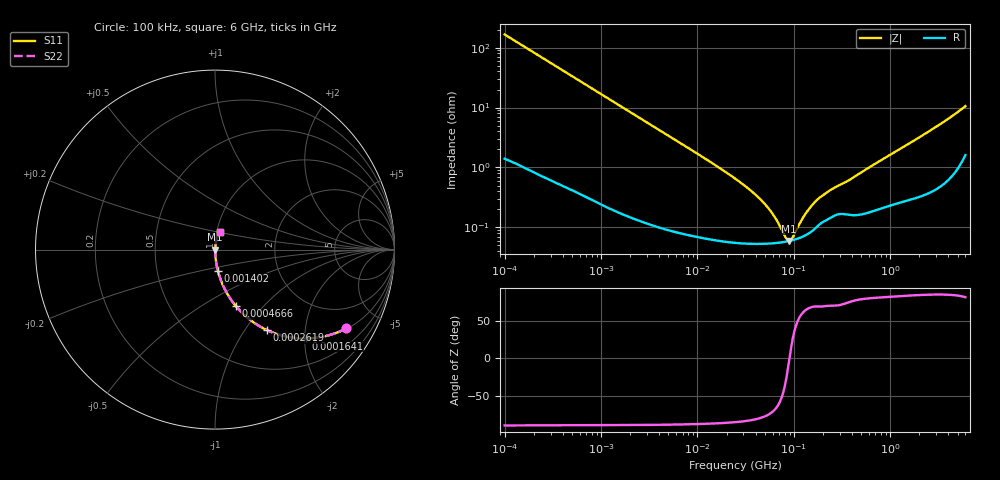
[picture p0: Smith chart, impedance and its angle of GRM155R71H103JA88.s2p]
!Murata Part Number: GRM155R71H103JA88
!These Parameters are Measured in Series Mode Connection
!Data Generated on Mar 30, 2021
!  o--ll--o
!Port1  Port2
!  o------o
!Operation Temp=25[degC], DC Bias Voltage=0[V]
!Freq. Start=100[kHz] Stop=6[GHz] 401[Steps]
# Hz S RI R 50
!Freq.(Hz) S11(Real) S11(Imag) S21(Real) S21(Imag) S12(Real) S12(Imag) S22(Real) S22(Imag)
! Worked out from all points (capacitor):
!   401 points, 100 kHz to 6 GHz, reference 50 ohm
!   read as one part in series: C = 9.59 nF near 105.7 kHz
!   lowest |Z| = 59.5 mohm at 89.23 MHz (marker M1)
!   series resonance near 89.98 MHz, so ESL is about 330 pH
!   S11 on the Smith chart (normalised r, x): 100 kHz: 1.03, -3.31; 164.1 kHz: 1.02, -2.03; 261.9 kHz: 1.01, -1.27; 466.6 kHz: 1.01, -0.72; 1.402 MHz: 1.00, -0.24; 6 GHz: 1.03, +0.21
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100000  0.7314 -0.439  0.2686 0.439  0.2686 0.439  0.7314 -0.439
164065  0.5066 -0.4952  0.4934 0.4952  0.4934 0.4952  0.5066 -0.4952
261871  0.2905 -0.4487  0.7095 0.4487  0.7095 0.4487  0.2905 -0.4487
466596  0.117 -0.3154  0.883 0.3154  0.883 0.3154  0.117 -0.3154
631452  0.0688 -0.2466  0.9312 0.2466  0.9312 0.2466  0.0688 -0.2466
1402027  0.0161 -0.1182  0.9839 0.1182  0.9839 0.1182  0.0161 -0.1182
3987316  0.0028 -0.0424  0.9972 0.0424  0.9972 0.0424  0.0028 -0.0424
2.517799e7  0.00059 -0.00632  0.9994 0.00632  0.9994 0.00632  0.00059 -0.00632
3.80366e7  0.000545 -0.00374  0.9995 0.00374  0.9995 0.00374  0.000545 -0.00374
5.147553e7  0.000539 -0.00226  0.9995 0.00226  0.9995 0.00226  0.000539 -0.00226
6.414516e7  0.000549 -0.00133  0.9995 0.00133  0.9995 0.00133  0.000549 -0.00133
8.216224e7  0.000578 -0.000351  0.9994 0.000351  0.9994 0.000351  0.000578 -0.000351
8.922949e7  0.000594 -3.21e-05  0.9994 3.21e-05  0.9994 3.21e-05  0.000594 -3.21e-05
9.690463e7  0.000613 0.000287  0.9994 -0.000287  0.9994 -0.000287  0.000613 0.000287
1.241232e8  0.000706 0.00126  0.9993 -0.00126  0.9993 -0.00126  0.000706 0.00126
1.546735e8  0.000876 0.00219  0.9991 -0.00219  0.9991 -0.00219  0.000876 0.00219
1.824266e8  0.00112 0.00288  0.9989 -0.00288  0.9989 -0.00288  0.00112 0.00288
2.401829e8  0.00146 0.00395  0.9985 -0.00395  0.9985 -0.00395  0.00146 0.00395
3.72965e8  0.00166 0.00591  0.9983 -0.00591  0.9983 -0.00591  0.00166 0.00591
9.76689e8  0.00253 0.0157  0.9975 -0.0157  0.9975 -0.0157  0.00253 0.0157
2.702311e9  0.00576 0.0426  0.9942 -0.0426  0.9942 -0.0426  0.00576 0.0426
6e9  0.0261 0.1  0.9739 -0.1  0.9739 -0.1  0.0261 0.1
